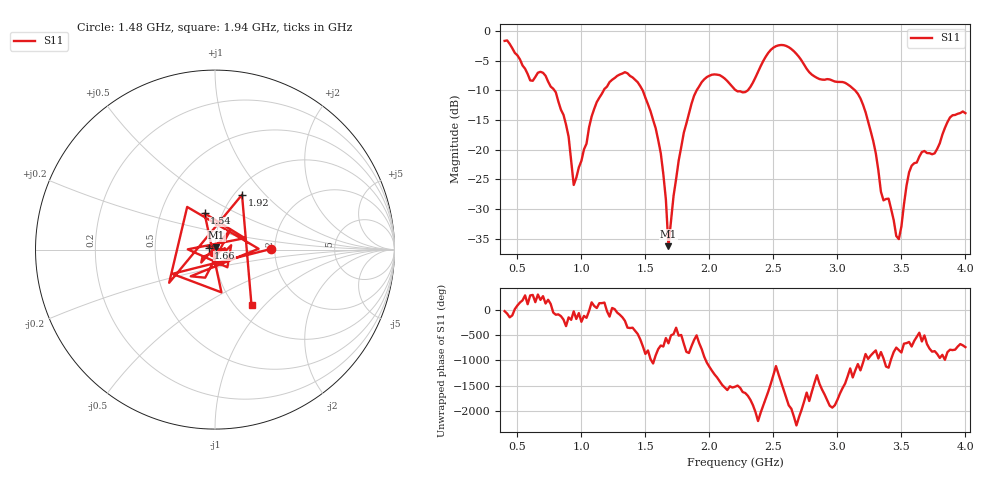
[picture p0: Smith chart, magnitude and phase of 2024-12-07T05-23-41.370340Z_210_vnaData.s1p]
!Created with skrf (http://scikit-rf.org).
# Hz S RI R 50.0
!freq ReS11 ImS11
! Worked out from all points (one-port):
!   181 points, 400 MHz to 4 GHz, reference 50 ohm
!   lowest |S11| = -36.3 dB at 1.68 GHz (marker M1), VSWR 1.03, Z = 50.8 + j1.33 ohm
!   |S11| at or under -10 dB: 788.4 MHz to 1.175 GHz (386.1 MHz wide, 39.3 % of centre); 1.478 GHz to 1.901 GHz (422.7 MHz wide, 25 % of centre); 3.137 GHz to end of sweep (the widest 3 of 4)
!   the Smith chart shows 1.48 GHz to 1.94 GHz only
!   S11 on the Smith chart (normalised r, x): 1.48 GHz: 1.91, +0.02; 1.54 GHz: 0.82, +0.35; 1.66 GHz: 0.93, +0.02; 1.92 GHz: 1.08, +0.75; 1.94 GHz: 1.18, -0.85
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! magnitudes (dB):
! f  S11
! 400 MHz  -1.7
! 600 MHz  -8.3
! 720 MHz  -7.6
! 860 MHz  -14.1
! 900 MHz  -17.8
! 940 MHz  -26.0
! 1.12 GHz  -12.0
! 1.3 GHz  -7.3
! 1.48 GHz  -10.1
! 1.54 GHz  -13.5
! 1.62 GHz  -20.6
! 1.66 GHz  -28.4
! 1.68 GHz  -36.3
! 1.76 GHz  -21.9
! 1.92 GHz  -9.4
! 1.94 GHz  -8.6
! 2.2 GHz  -9.9
! 2.3 GHz  -10.0
! 2.5 GHz  -2.8
! 2.66 GHz  -3.4
! 3.1 GHz  -9.3
! 3.22 GHz  -13.7
! 3.34 GHz  -27.1
! 3.4 GHz  -28.3
! 3.46 GHz  -34.6
! 3.5 GHz  -33.0
! 3.56 GHz  -23.8
! 4 GHz  -13.9
